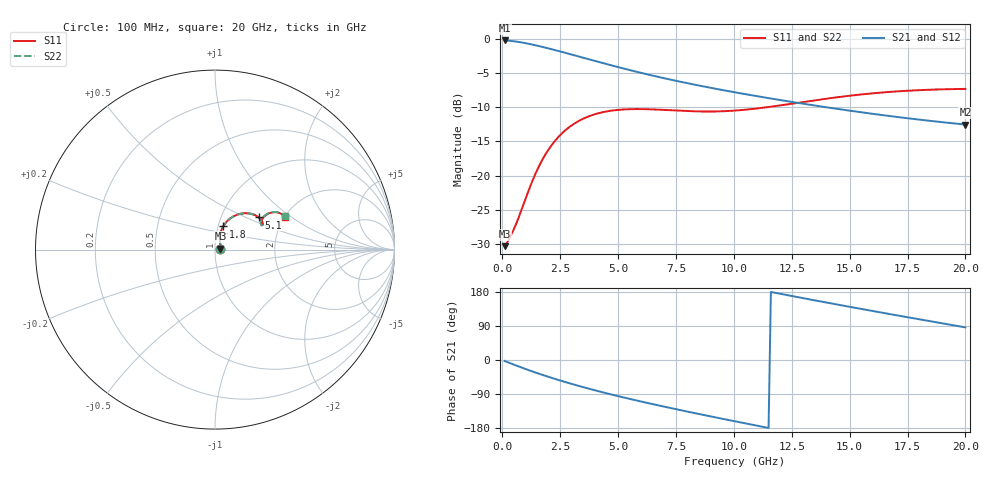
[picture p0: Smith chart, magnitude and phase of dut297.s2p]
! Touchstone file exported from HFSS 2023.1.0
!  File:  D:/Users/fzz/RDL_TSV/temp_RDL_TSV_297_1778764059.aedt
!  Generated:  9:15:54 %x4E0B%x5348  5%x6708 14, 2026
!  Design:  RDL_TSV
!  Project:  temp_RDL_TSV_297_1778764059
!  Setup:  Setup1
!  Solution:  Sweep
! Variables:
!  dtsv = 17.5um
!  hbump = 3um
!  htsv = 55.45um
!  ldown = 681.64um
!  lrdl = 502.59um
!  p = 40
!  p1 = 53.54um
!  rhole = 10um
!  subl = 4055.28um
!  t = 450um
!  tdown = 2.44um
!  trdl = 3.96um
!  viad = 10um
!  wdown = 19.29um
!  wrdl = 11.53um
!  xbump = 18um
# GHz S MA R 50.000000
! Terminal data exported
! Port[1] = TM1_1_T1
! Port[2] = TM1_4_T1
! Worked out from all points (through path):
!   200 points, 100 MHz to 20 GHz, reference 50 ohm
!   highest |S21| = -0.27 dB at 100 MHz (marker M1); lowest = -12.5 dB at 20 GHz (marker M2)
!   group delay of S21, straight-line fit = 36 ps
!   lowest |S11| = -30.3 dB at 100 MHz (marker M3), VSWR 1.06, Z = 53.1 + j0.615 ohm
!   |S11| at or under -10 dB: start of sweep to 11.47 GHz
!   |S22| runs from -30.3 to -7.3 dB; largest |S21 - S12| = 8.3e-15
!   S11 on the Smith chart (normalised r, x): 100 MHz: 1.06, +0.01; 1.8 GHz: 1.06, +0.28; 5.1 GHz: 1.51, +0.59; 20 GHz: 2.00, +0.90
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0.1  0.03052 10.9  0.9694 -2.5  0.9694 -2.5  0.03052 10.9
! Gamma 0 0 0 0
! Port Impedance 50 0 50 0
0.5  0.04067 43.3  0.9564 -12.2  0.9564 -12.2  0.04069 43.3
1  0.06741 66.2  0.9267 -23.7  0.9267 -23.7  0.06741 66.2
1.4  0.1002 71.6  0.8968 -32.4  0.8968 -32.4  0.1002 71.6
1.8  0.1369 70.6  0.8644 -40.6  0.8644 -40.6  0.1368 70.5
2.2  0.1728 66.9  0.8309 -48.5  0.8309 -48.5  0.1726 66.8
2.6  0.2052 62.1  0.7975 -56.0  0.7975 -56.0  0.2049 62.0
3  0.2329 57.1  0.7646 -63.2  0.7646 -63.2  0.2326 57.0
3.5  0.2604 51.1  0.7249 -71.8  0.7249 -71.8  0.26 51.0
4.3  0.2891 42.8  0.6658 -84.7  0.6658 -84.7  0.2885 42.7
5.1  0.3027 36.2  0.6132 -96.8  0.6132 -96.8  0.3018 36.1
5.9  0.3059 31.5  0.5671 -108.3  0.5671 -108.3  0.3048 31.5
6.8  0.3026 28.4  0.5223 -120.6  0.5223 -120.6  0.3013 28.3
7.6  0.2978 27.3  0.4879 -131.1  0.4879 -131.1  0.2962 27.3
8.4  0.2941 27.6  0.4576 -141.3  0.4576 -141.3  0.2924 27.6
10.1  0.2987 30.6  0.4039 -162.4  0.4039 -162.4  0.2969 30.8
11.6  0.3183 33.2  0.3652 179.5  0.3652 179.5  0.3168 33.5
13.4  0.3526 34.1  0.3265 158.5  0.3265 158.5  0.3516 34.4
15  0.3829 32.8  0.2978 140.3  0.2978 140.3  0.3823 33.1
16.7  0.4078 30.3  0.2725 121.6  0.2725 121.6  0.4077 30.6
18.3  0.4225 27.7  0.2528 104.3  0.2528 104.3  0.4227 28.0
20  0.4294 25.3  0.2359 86.1  0.2359 86.1  0.4298 25.6
